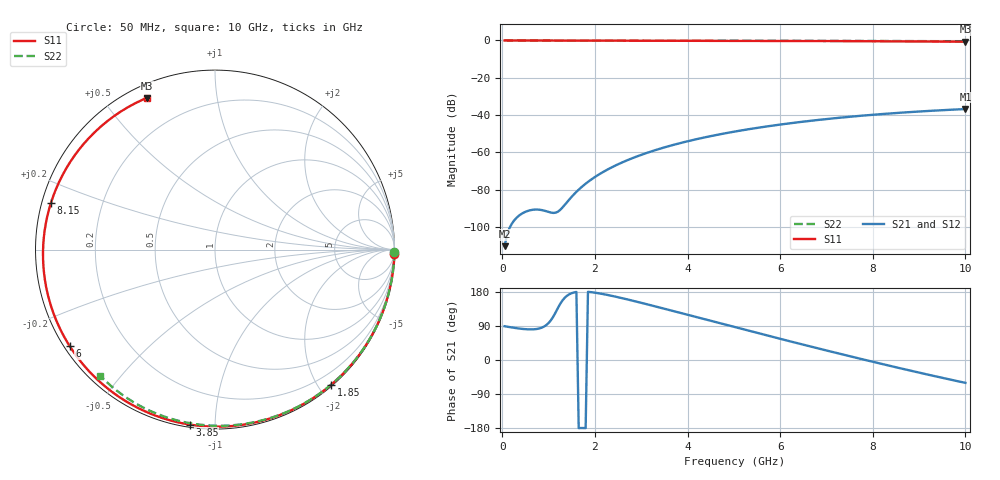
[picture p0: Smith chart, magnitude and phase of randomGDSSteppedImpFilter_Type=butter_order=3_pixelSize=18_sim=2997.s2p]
! freq	dB(S11)	phase(S11)	dB(S12)	phase(S12)
!  dB(S21)	phase(S21)	dB(S22)	phase(S22)
!S-par simulation data
#  GHz  S  DB  R 50
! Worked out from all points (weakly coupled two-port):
!   200 points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, 50 MHz to 10 GHz, reference 50 ohm
!   highest |S21| = -36.78 dB at 10 GHz (marker M1); lowest = -110.3 dB at 50 MHz (marker M2)
!   lowest |S11| = -0.7 dB at 10 GHz (marker M3), VSWR 26.26, Z = 2.7 + j32.3 ohm
!   |S11| at or under -10 dB: nowhere
!   |S22| runs from -0.4 to 0.0 dB; largest |S21 - S12| = 0
!   S11 on the Smith chart (normalised r, x): 50 MHz: 0, -83; 1.85 GHz: 0.02, -2.17; 3.85 GHz: 0.01, -0.87; 6 GHz: 0.02, -0.30; 8.15 GHz: 0.03, +0.14; 10 GHz: 0.05, +0.65
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0.05  -0.00 -1.4  -110.30 89.1  -110.30 89.1  -0.00 -0.8
0.4  -0.02 -10.9  -93.21 82.5  -93.21 82.5  -0.01 -6.1
0.8  -0.03 -21.7  -90.75 83.3  -90.75 83.3  -0.02 -12.2
1.2  -0.04 -32.4  -91.82 137.0  -91.82 137.0  -0.02 -18.2
1.65  -0.06 -44.2  -79.98 -179.8  -79.98 -179.8  -0.03 -24.9
1.75  -0.06 -46.8  -77.80 -179.4  -77.80 -179.4  -0.03 -26.4
1.85  -0.06 -49.4  -75.84 179.9  -75.84 179.9  -0.04 -27.9
2.15  -0.07 -57.1  -70.91 174.6  -70.91 174.6  -0.04 -32.3
2.5  -0.08 -65.9  -66.39 165.7  -66.39 165.7  -0.05 -37.4
2.9  -0.10 -75.7  -62.25 154.0  -62.25 154.0  -0.06 -43.2
3.4  -0.11 -87.7  -58.07 138.4  -58.07 138.4  -0.07 -50.3
3.85  -0.13 -98.3  -54.98 124.1  -54.98 124.1  -0.08 -56.6
4.45  -0.16 -112.0  -51.55 104.9  -51.55 104.9  -0.09 -64.8
5.05  -0.19 -125.5  -48.71 85.8  -48.71 85.8  -0.11 -72.8
6  -0.25 -146.5  -45.10 55.9  -45.10 55.9  -0.15 -85.0
6.7  -0.30 -162.1  -42.95 34.3  -42.95 34.3  -0.18 -93.7
7.45  -0.37 -179.2  -41.04 11.6  -41.04 11.6  -0.22 -102.8
8.15  -0.44 164.0  -39.55 -9.1  -39.55 -9.1  -0.27 -111.1
8.35  -0.46 159.1  -39.18 -14.9  -39.18 -14.9  -0.29 -113.5
9.15  -0.56 138.2  -37.87 -37.5  -37.87 -37.5  -0.36 -122.7
9.6  -0.61 125.8  -37.26 -49.7  -37.26 -49.7  -0.40 -127.8
10  -0.66 114.2  -36.78 -60.3  -36.78 -60.3  -0.45 -132.4
